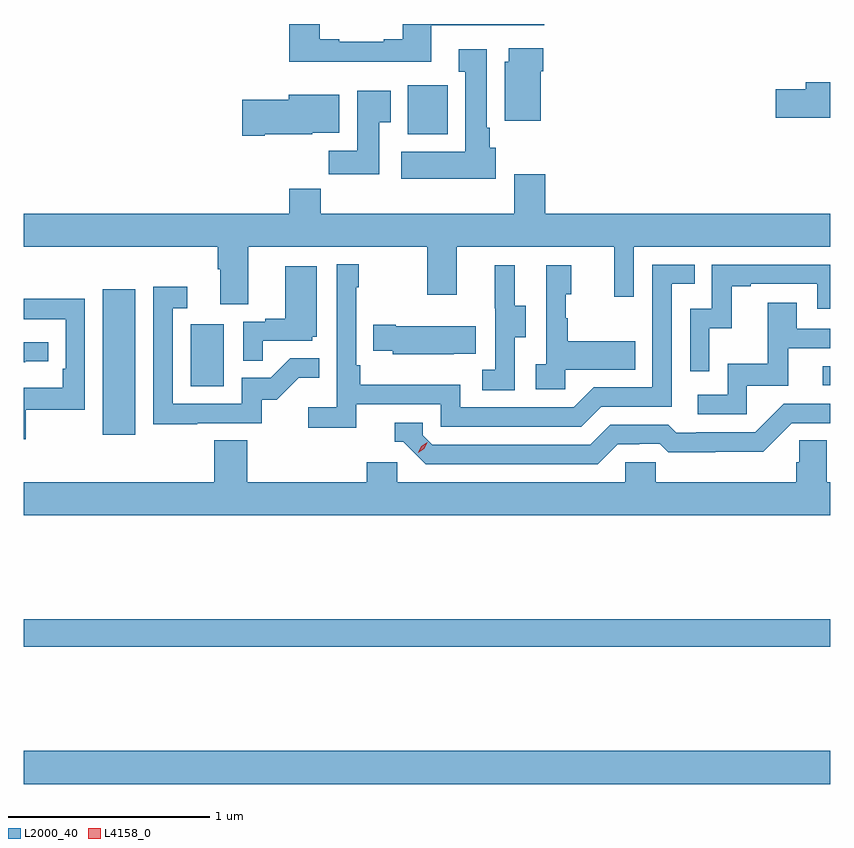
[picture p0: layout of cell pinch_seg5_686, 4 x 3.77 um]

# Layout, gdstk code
import gdstk
lib = gdstk.Library(unit=1e-6, precision=1e-09)
def R(c, l, rs):  # rectangles x0, y0, x1, y1
    for r in rs: c.add(gdstk.rectangle(r[:2], r[2:], *l))
def P(c, l, *ps):  # polygons
    for p in ps: c.add(gdstk.Polygon(p, *l))
L2000_40 = (2000, 40)
L4158_0 = (4158, 0)

pinch_seg5_686 = lib.new_cell('pinch_seg5_686')
R(pinch_seg5_686, L2000_40, [(1088.9,838.112,1092.9,838.276), (1088.9,838.792,1092.9,838.928), (1089.293,839.844,1089.454,840.565), (1089.728,840.084,1089.892,840.391), (1092.861,840.09,1092.9,840.183), (1090.805,841.334,1091.002,841.576)])
P(pinch_seg5_686, L2000_40, [(1090.921,841.875),(1091.482,841.875),(1091.482,841.88),(1090.781,841.88),(1090.781,841.804),(1090.685,841.804),(1090.685,841.791),(1090.465,841.791),(1090.465,841.804),(1090.369,841.804),(1090.369,841.88),(1090.217,841.88),(1090.217,841.694),(1090.921,841.694)],
  [(1091.464,841.646),(1091.477,841.646),(1091.477,841.759),(1091.306,841.759),(1091.306,841.692),(1091.285,841.692),(1091.285,841.4),(1091.464,841.4)],
  [(1091.242,841.266),(1091.212,841.266),(1091.212,841.366),(1091.197,841.366),(1091.197,841.756),(1091.057,841.756),(1091.057,841.643),(1091.09,841.643),(1091.09,841.246),(1090.773,841.246),(1090.773,841.112),(1091.242,841.112)],
  [(1092.9,841.592),(1092.779,841.592),(1092.779,841.556),(1092.63,841.556),(1092.63,841.414),(1092.9,841.414)],
  [(1090.663,841.393),(1090.72,841.393),(1090.72,841.549),(1090.553,841.549),(1090.553,841.252),(1090.414,841.252),(1090.414,841.134),(1090.663,841.134)],
  [(1090.096,841.334),(1090.332,841.334),(1090.332,841.34),(1090.465,841.34),(1090.465,841.528),(1090.214,841.528),(1090.214,841.505),(1089.984,841.505),(1089.984,841.327),(1090.096,841.327)],
  [(1090.015,840.776),(1090.9,840.776),(1090.9,840.537),(1091.047,840.537),(1091.047,840.776),(1091.828,840.776),(1091.828,840.528),(1091.925,840.528),(1091.925,840.776),(1092.9,840.776),(1092.9,840.94),(1091.486,840.94),(1091.486,841.135),(1091.333,841.135),(1091.333,840.94),(1090.373,840.94),(1090.373,841.064),(1090.217,841.064),(1090.217,840.94),(1088.9,840.94),(1088.9,840.776),(1089.863,840.776),(1089.863,840.664),(1089.875,840.664),(1089.875,840.49),(1090.015,840.49)],
  [(1090.55,839.994),(1090.968,839.994),(1090.968,839.883),(1091.665,839.883),(1091.764,839.982),(1092.114,839.982),(1092.114,840.591),(1092.227,840.591),(1092.227,840.687),(1092.018,840.687),(1092.018,840.078),(1091.727,840.078),(1091.628,839.979),(1091.064,839.979),(1091.064,840.091),(1090.568,840.091),(1090.568,840.187),(1090.548,840.187),(1090.548,840.575),(1090.561,840.575),(1090.561,840.688),(1090.452,840.688),(1090.452,839.98),(1090.311,839.98),(1090.311,839.878),(1090.55,839.878)],
  [(1092.3,840.371),(1092.41,840.371),(1092.41,840.579),(1092.505,840.579),(1092.505,840.591),(1092.834,840.591),(1092.834,840.468),(1092.9,840.468),(1092.9,840.687),(1092.312,840.687),(1092.312,840.468),(1092.204,840.468),(1092.204,840.159),(1092.3,840.159)],
  [(1091.586,840.167),(1091.933,840.167),(1091.933,840.307),(1091.599,840.307),(1091.599,840.422),(1091.589,840.422),(1091.589,840.54),(1091.614,840.54),(1091.614,840.685),(1091.49,840.685),(1091.49,840.194),(1091.439,840.194),(1091.439,840.069),(1091.586,840.069)],
  [(1091.334,840.328),(1091.389,840.328),(1091.389,840.483),(1091.335,840.483),(1091.335,840.685),(1091.237,840.685),(1091.237,840.471),(1091.238,840.471),(1091.238,840.167),(1091.175,840.167),(1091.175,840.064),(1091.334,840.064)],
  [(1090.085,840.309),(1090.332,840.309),(1090.332,840.33),(1090.354,840.33),(1090.354,840.679),(1090.196,840.679),(1090.196,840.418),(1090.097,840.418),(1090.097,840.405),(1089.99,840.405),(1089.99,840.211),(1090.085,840.211)],
  [(1089.761,839.901),(1090.08,839.901),(1090.08,840.018),(1090.156,840.018),(1090.263,840.125),(1090.367,840.125),(1090.367,840.224),(1090.223,840.224),(1090.125,840.126),(1089.981,840.126),(1089.981,839.997),(1089.639,839.997),(1089.639,840.471),(1089.712,840.471),(1089.712,840.577),(1089.543,840.577),(1089.543,839.896),(1089.761,839.896)],
  [(1088.911,839.967),(1089.204,839.967),(1089.204,840.518),(1088.9,840.518),(1088.9,840.417),(1089.108,840.417),(1089.108,840.172),(1089.095,840.172),(1089.095,840.076),(1088.9,840.076),(1088.9,839.82),(1088.911,839.82)],
  [(1092.486,840.087),(1092.691,840.087),(1092.691,840.273),(1092.9,840.273),(1092.9,840.369),(1092.733,840.369),(1092.733,840.499),(1092.589,840.499),(1092.589,840.196),(1092.39,840.196),(1092.39,840.042),(1092.243,840.042),(1092.243,839.946),(1092.486,839.946)],
  [(1091.033,840.245),(1091.141,840.245),(1091.141,840.382),(1090.744,840.382),(1090.744,840.39),(1090.633,840.39),(1090.633,840.26),(1090.731,840.26),(1090.731,840.242),(1091.033,840.242)],
  [(1088.909,840.207),(1089.022,840.207),(1089.022,840.303),(1088.9,840.303),(1088.9,840.202),(1088.909,840.202)],
  [(1091.845,839.796),(1091.952,839.796),(1091.952,839.799),(1092.055,839.799),(1092.097,839.757),(1092.33,839.757),(1092.33,839.759),(1092.566,839.759),(1092.708,839.901),(1092.9,839.901),(1092.9,839.997),(1092.669,839.997),(1092.528,839.856),(1092.235,839.856),(1092.235,839.853),(1092.136,839.853),(1092.097,839.892),(1091.808,839.892),(1091.709,839.793),(1090.926,839.793),(1090.878,839.841),(1090.878,839.904),(1090.739,839.904),(1090.739,839.808),(1090.782,839.808),(1090.893,839.697),(1091.746,839.697)],
  [(1092.9,839.608),(1092.882,839.608),(1092.882,839.816),(1092.745,839.816),(1092.745,839.706),(1092.731,839.706),(1092.731,839.608),(1092.033,839.608),(1092.033,839.706),(1091.883,839.706),(1091.883,839.608),(1090.752,839.608),(1090.752,839.706),(1090.601,839.706),(1090.601,839.608),(1090.01,839.608),(1090.01,839.816),(1089.845,839.816),(1089.845,839.608),(1088.9,839.608),(1088.9,839.444),(1092.9,839.444)])
P(pinch_seg5_686, L4158_0, [(1090.856,839.754),(1090.856,839.754),(1090.872,839.787),(1090.902,839.807),(1090.902,839.807),(1090.902,839.806),(1090.887,839.774),(1090.856,839.754)])

lib.write_gds('pinch_seg5_686.gds')
